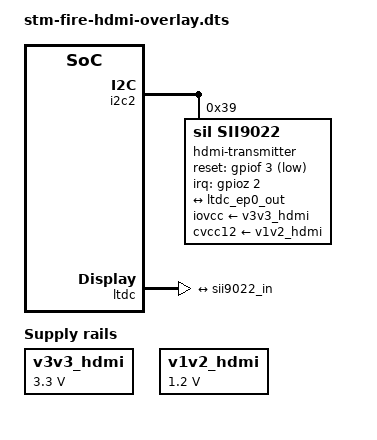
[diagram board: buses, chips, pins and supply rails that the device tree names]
// SPDX-License-Identifier: (GPL-2.0+ OR BSD-3-Clause)
/*
 * Copyright (C) STMicroelectronics 2018 - All Rights Reserved
 * Author: Alexandre Torgue <alexandre.torgue@st.com>.
 */

/dts-v1/;
/plugin/;
//#include "../stm32mp157c.dtsi"
#include <dt-bindings/pinctrl/stm32-pinfunc.h>
#include <dt-bindings/input/input.h>
#include <dt-bindings/mfd/st,stpmic1.h>
#include <dt-bindings/gpio/gpio.h>
#include <dt-bindings/interrupt-controller/irq.h>
/{
	fragment@0{
		target-path="/";
		__overlay__{
			v3v3_hdmi: regulator-v3v3-hdmi {
				compatible = "regulator-fixed";
				regulator-name = "v3v3_hdmi";
				regulator-min-microvolt = <3300000>;
				regulator-max-microvolt = <3300000>;
				regulator-always-on;
				regulator-boot-on;
			};

			v1v2_hdmi: regulator-v1v2-hdmi {
				compatible = "regulator-fixed";
				regulator-name = "v1v2_hdmi";
				regulator-min-microvolt = <1200000>;
				regulator-max-microvolt = <1200000>;
				regulator-always-on;
				regulator-boot-on;
			};
		};
	};

	fragment@1{
		target=<&i2c2>;
		__overlay__{
			#address-cells = <1>;
			#size-cells = <0>;  			
			hdmi-transmitter@39 {
				compatible = "sil,sii9022";
				reg = <0x39>;
				iovcc-supply = <&v3v3_hdmi>;
				cvcc12-supply = <&v1v2_hdmi>;
				reset-gpios = <&gpiof 3 GPIO_ACTIVE_LOW>;
				interrupts = <2 IRQ_TYPE_EDGE_FALLING>;
				interrupt-parent = <&gpioz>;
				status = "okay";

				ports {
					#address-cells = <1>;
					#size-cells = <0>;

					port@0 {
						reg = <0>;
						sii9022_in: endpoint {
							remote-endpoint = <&ltdc_ep0_out>;
						};
					};
				};
			};
		};
	};

	fragment@2{
		target=<&ltdc>;
		__overlay__{
			port {
				#address-cells = <1>;
				#size-cells = <0>;

				ltdc_ep0_out: endpoint@0 {
					reg = <0>;
					remote-endpoint = <&sii9022_in>;
				};
			};
		};
	};
};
